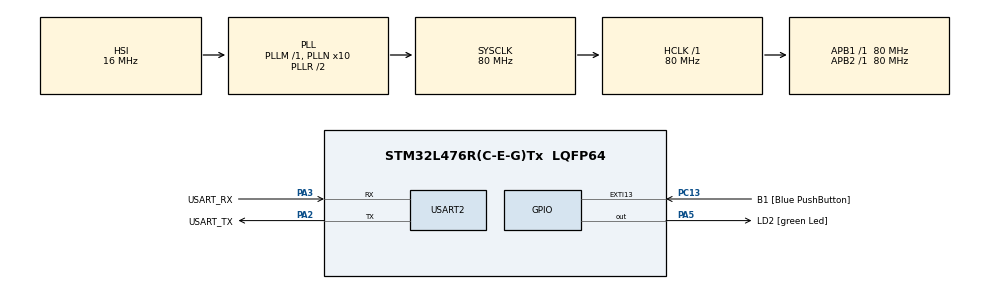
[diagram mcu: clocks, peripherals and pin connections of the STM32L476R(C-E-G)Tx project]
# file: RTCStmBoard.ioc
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Mcu.Family=STM32L4
Mcu.Name=STM32L476R(C-E-G)Tx
Mcu.Package=LQFP64
NVIC.PriorityGroup=NVIC_PRIORITYGROUP_4
NVIC.RTC_Alarm_IRQn=true\:0\:0\:false\:false\:true\:true\:true\:true
PA13\ (JTMS-SWDIO).GPIO_Label=TMS
PA13\ (JTMS-SWDIO).Signal=SYS_JTMS-SWDIO
PA14\ (JTCK-SWCLK).GPIO_Label=TCK
PA14\ (JTCK-SWCLK).Signal=SYS_JTCK-SWCLK
PA2.GPIO_Label=USART_TX
PA2.GPIO_Mode=GPIO_MODE_AF_PP
PA2.GPIO_PuPd=GPIO_NOPULL
PA2.GPIO_Speed=GPIO_SPEED_FREQ_VERY_HIGH
PA2.Mode=Asynchronous
PA2.Signal=USART2_TX
PA3.GPIO_Label=USART_RX
PA3.GPIO_Mode=GPIO_MODE_AF_PP
PA3.GPIO_PuPd=GPIO_NOPULL
PA3.GPIO_Speed=GPIO_SPEED_FREQ_VERY_HIGH
PA3.Mode=Asynchronous
PA3.Signal=USART2_RX
PA5.GPIO_Label=LD2 [green Led]
PA5.GPIO_ModeDefaultOutputPP=GPIO_MODE_OUTPUT_PP
PA5.GPIO_PuPd=GPIO_NOPULL
PA5.GPIO_Speed=GPIO_SPEED_FREQ_LOW
PA5.Signal=GPIO_Output
PB3\ (JTDO-TRACESWO).GPIO_Label=SWO
PB3\ (JTDO-TRACESWO).Signal=SYS_JTDO-SWO
PC13.GPIO_Label=B1 [Blue PushButton]
PC13.GPIO_ModeDefaultEXTI=GPIO_MODE_IT_FALLING
PC13.GPIO_PuPd=GPIO_NOPULL
PC13.Signal=GPXTI13
PC14-OSC32_IN\ (PC14).Signal=RCC_OSC32_IN
PC15-OSC32_OUT\ (PC15).Signal=RCC_OSC32_OUT
PH0-OSC_IN\ (PH0).Signal=RCC_OSC_IN
PH1-OSC_OUT\ (PH1).Signal=RCC_OSC_OUT
ProjectManager.HeapSize=0x200
ProjectManager.StackSize=0x400
ProjectManager.TargetToolchain=STM32CubeIDE
RCC.ADCFreq_Value=64000000
RCC.AHBFreq_Value=80000000
RCC.APB1Freq_Value=80000000
RCC.APB1TimFreq_Value=80000000
RCC.APB2Freq_Value=80000000
RCC.APB2TimFreq_Value=80000000
RCC.CortexFreq_Value=80000000
RCC.HCLKFreq_Value=80000000
RCC.HSE_VALUE=8000000
RCC.HSI_VALUE=16000000
RCC.LSE_VALUE=32768
RCC.MSI_VALUE=4000000
RCC.PLLN=10
RCC.PLLSourceVirtual=RCC_PLLSOURCE_HSI
RCC.PREFETCH_ENABLE=1
RCC.SYSCLKFreq_VALUE=80000000
RCC.SYSCLKSource=RCC_SYSCLKSOURCE_PLLCLK
RCC.USBFreq_Value=64000000
RCC.VCOOutputFreq_Value=160000000
RTC.Alarm-Alarm\ A=RTC_ALARM_A
RTC.Seconds_A-Alarm\ A=1
USART2.VirtualMode-Asynchronous=VM_ASYNC
VP_RTC_VS_RTC_Activate.Mode=RTC_Enabled
VP_RTC_VS_RTC_Alarm_A_Intern.Mode=Alarm A
VP_RTC_VS_RTC_Calendar.Mode=RTC_Calendar
board=NUCLEO-L476RG

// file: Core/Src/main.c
/* USER CODE BEGIN Header */
/**
  ******************************************************************************
  * @file           : main.c
  * @brief          : Main program body
  ******************************************************************************
  * @attention
  *
  * Copyright (c) 2026 STMicroelectronics.
  * All rights reserved.
  *
  * This software is licensed under terms that can be found in the LICENSE file
  * in the root directory of this software component.
  * If no LICENSE file comes with this software, it is provided AS-IS.
  *
  ******************************************************************************
  */
/* USER CODE END Header */
#include "main.h"

/* USER CODE BEGIN Includes */
#include <string.h>
#include <stdio.h>
/* USER CODE END Includes */

RTC_HandleTypeDef hrtc;

UART_HandleTypeDef huart2;

void SystemClock_Config(void);
static void MX_GPIO_Init(void);
static void MX_RTC_Init(void);
static void MX_USART2_UART_Init(void);

int main(void)
{

  /* USER CODE BEGIN 1 */
	RTC_TimeTypeDef rtcTime; // RTC time structure
	RTC_DateTypeDef rtcDate; // RTC Date structure
	uint8_t buf[20]; 			// to hold the character string for UART communication or the bytes from real time clock
  /* USER CODE END 1 */

  /* MCU Configuration--------------------------------------------------------*/

  /* Reset of all peripherals, Initializes the Flash interface and the Systick. */
  HAL_Init();

  /* Configure the system clock */
  SystemClock_Config();

  /* Initialize all configured peripherals */
  MX_GPIO_Init();
  MX_RTC_Init();
  MX_USART2_UART_Init();

  /* Infinite loop */
  /* USER CODE BEGIN WHILE */
  while (1)
  {
	  HAL_RTC_GetTime(&hrtc, &rtcTime, RTC_FORMAT_BIN);  // Function to read the time from the RTC shadow register
	  HAL_RTC_GetDate(&hrtc, &rtcDate, RTC_FORMAT_BIN); // Function to read the date form the RTC shadow register

	  sprintf((char*)buf,"Time: %2u:%2u:%2u\r", (unsigned int)rtcTime.Hours, (unsigned int)rtcTime.Minutes, (unsigned int)rtcTime.Seconds);
	  HAL_UART_Transmit(&huart2, buf, strlen((char*)buf), HAL_MAX_DELAY);

	  HAL_Delay(1000);	// HAL Delay of 1000 millisecond
    /* USER CODE END WHILE */

  }
}

void SystemClock_Config(void)
{
  RCC_OscInitTypeDef RCC_OscInitStruct = {0};
  RCC_ClkInitTypeDef RCC_ClkInitStruct = {0};

  /** Configure the main internal regulator output voltage
  */
  if (HAL_PWREx_ControlVoltageScaling(PWR_REGULATOR_VOLTAGE_SCALE1) != HAL_OK)
  {
    Error_Handler();
  }

  /** Initializes the RCC Oscillators according to the specified parameters
  * in the RCC_OscInitTypeDef structure.
  */
  RCC_OscInitStruct.OscillatorType = RCC_OSCILLATORTYPE_HSI|RCC_OSCILLATORTYPE_LSI;
  RCC_OscInitStruct.HSIState = RCC_HSI_ON;
  RCC_OscInitStruct.HSICalibrationValue = RCC_HSICALIBRATION_DEFAULT;
  RCC_OscInitStruct.LSIState = RCC_LSI_ON;
  RCC_OscInitStruct.PLL.PLLState = RCC_PLL_ON;
  RCC_OscInitStruct.PLL.PLLSource = RCC_PLLSOURCE_HSI;
  RCC_OscInitStruct.PLL.PLLM = 1;
  RCC_OscInitStruct.PLL.PLLN = 10;
  RCC_OscInitStruct.PLL.PLLP = RCC_PLLP_DIV7;
  RCC_OscInitStruct.PLL.PLLQ = RCC_PLLQ_DIV2;
  RCC_OscInitStruct.PLL.PLLR = RCC_PLLR_DIV2;
  if (HAL_RCC_OscConfig(&RCC_OscInitStruct) != HAL_OK)
  {
    Error_Handler();
  }

  /** Initializes the CPU, AHB and APB buses clocks
  */
  RCC_ClkInitStruct.ClockType = RCC_CLOCKTYPE_HCLK|RCC_CLOCKTYPE_SYSCLK
                              |RCC_CLOCKTYPE_PCLK1|RCC_CLOCKTYPE_PCLK2;
  RCC_ClkInitStruct.SYSCLKSource = RCC_SYSCLKSOURCE_PLLCLK;
  RCC_ClkInitStruct.AHBCLKDivider = RCC_SYSCLK_DIV1;
  RCC_ClkInitStruct.APB1CLKDivider = RCC_HCLK_DIV1;
  RCC_ClkInitStruct.APB2CLKDivider = RCC_HCLK_DIV1;

  if (HAL_RCC_ClockConfig(&RCC_ClkInitStruct, FLASH_LATENCY_4) != HAL_OK)
  {
    Error_Handler();
  }
}

static void MX_RTC_Init(void)
{

  RTC_TimeTypeDef sTime = {0};
  RTC_DateTypeDef sDate = {0};
  RTC_AlarmTypeDef sAlarm = {0};

  /** Initialize RTC Only
  */
  hrtc.Instance = RTC;
  hrtc.Init.HourFormat = RTC_HOURFORMAT_24;
  hrtc.Init.AsynchPrediv = 127;
  hrtc.Init.SynchPrediv = 255;
  hrtc.Init.OutPut = RTC_OUTPUT_DISABLE;
  hrtc.Init.OutPutRemap = RTC_OUTPUT_REMAP_NONE;
  hrtc.Init.OutPutPolarity = RTC_OUTPUT_POLARITY_HIGH;
  hrtc.Init.OutPutType = RTC_OUTPUT_TYPE_OPENDRAIN;
  if (HAL_RTC_Init(&hrtc) != HAL_OK)
  {
    Error_Handler();
  }

  /** Initialize RTC and set the Time and Date
  */
  sTime.Hours = 0x0;
  sTime.Minutes = 0x0;
  sTime.Seconds = 0x0;
  sTime.DayLightSaving = RTC_DAYLIGHTSAVING_NONE;
  sTime.StoreOperation = RTC_STOREOPERATION_RESET;
  if (HAL_RTC_SetTime(&hrtc, &sTime, RTC_FORMAT_BCD) != HAL_OK)
  {
    Error_Handler();
  }
  sDate.WeekDay = RTC_WEEKDAY_MONDAY;
  sDate.Month = RTC_MONTH_JANUARY;
  sDate.Date = 0x1;
  sDate.Year = 0x0;

  if (HAL_RTC_SetDate(&hrtc, &sDate, RTC_FORMAT_BCD) != HAL_OK)
  {
    Error_Handler();
  }

  /** Enable the Alarm A
  */
  sAlarm.AlarmTime.Hours = 0x0;
  sAlarm.AlarmTime.Minutes = 0x0;
  sAlarm.AlarmTime.Seconds = 0x1;
  sAlarm.AlarmTime.SubSeconds = 0x0;
  sAlarm.AlarmTime.DayLightSaving = RTC_DAYLIGHTSAVING_NONE;
  sAlarm.AlarmTime.StoreOperation = RTC_STOREOPERATION_RESET;
  sAlarm.AlarmMask = RTC_ALARMMASK_NONE;
  sAlarm.AlarmSubSecondMask = RTC_ALARMSUBSECONDMASK_ALL;
  sAlarm.AlarmDateWeekDaySel = RTC_ALARMDATEWEEKDAYSEL_DATE;
  sAlarm.AlarmDateWeekDay = 0x1;
  sAlarm.Alarm = RTC_ALARM_A;
  if (HAL_RTC_SetAlarm_IT(&hrtc, &sAlarm, RTC_FORMAT_BCD) != HAL_OK)
  {
    Error_Handler();
  }

}

static void MX_USART2_UART_Init(void)
{

  huart2.Instance = USART2;
  huart2.Init.BaudRate = 115200;
  huart2.Init.WordLength = UART_WORDLENGTH_8B;
  huart2.Init.StopBits = UART_STOPBITS_1;
  huart2.Init.Parity = UART_PARITY_NONE;
  huart2.Init.Mode = UART_MODE_TX_RX;
  huart2.Init.HwFlowCtl = UART_HWCONTROL_NONE;
  huart2.Init.OverSampling = UART_OVERSAMPLING_16;
  huart2.Init.OneBitSampling = UART_ONE_BIT_SAMPLE_DISABLE;
  huart2.AdvancedInit.AdvFeatureInit = UART_ADVFEATURE_NO_INIT;
  if (HAL_UART_Init(&huart2) != HAL_OK)
  {
    Error_Handler();
  }

}

static void MX_GPIO_Init(void)
{
  GPIO_InitTypeDef GPIO_InitStruct = {0};

  /* GPIO Ports Clock Enable */
  __HAL_RCC_GPIOC_CLK_ENABLE();
  __HAL_RCC_GPIOH_CLK_ENABLE();
  __HAL_RCC_GPIOA_CLK_ENABLE();
  __HAL_RCC_GPIOB_CLK_ENABLE();

  /*Configure GPIO pin Output Level */
  HAL_GPIO_WritePin(LD2_GPIO_Port, LD2_Pin, GPIO_PIN_RESET);

  /*Configure GPIO pin : B1_Pin */
  GPIO_InitStruct.Pin = B1_Pin;
  GPIO_InitStruct.Mode = GPIO_MODE_IT_FALLING;
  GPIO_InitStruct.Pull = GPIO_NOPULL;
  HAL_GPIO_Init(B1_GPIO_Port, &GPIO_InitStruct);

  /*Configure GPIO pin : LD2_Pin */
  GPIO_InitStruct.Pin = LD2_Pin;
  GPIO_InitStruct.Mode = GPIO_MODE_OUTPUT_PP;
  GPIO_InitStruct.Pull = GPIO_NOPULL;
  GPIO_InitStruct.Speed = GPIO_SPEED_FREQ_LOW;
  HAL_GPIO_Init(LD2_GPIO_Port, &GPIO_InitStruct);

}

/* USER CODE BEGIN 4 */
void HAL_RTC_AlarmAEventCallback(RTC_HandleTypeDef *hrtc) {
  RTC_AlarmTypeDef sAlarm;
  HAL_RTC_GetAlarm(hrtc,&sAlarm,RTC_ALARM_A,FORMAT_BIN);
  if(sAlarm.AlarmTime.Seconds>58) {
    sAlarm.AlarmTime.Seconds=0;
  }else{
    sAlarm.AlarmTime.Seconds=sAlarm.AlarmTime.Seconds+1;
  }
    while(HAL_RTC_SetAlarm_IT(hrtc, &sAlarm, FORMAT_BIN)!=HAL_OK){}
    HAL_GPIO_TogglePin(GPIOA, GPIO_PIN_5);
}
/* USER CODE END 4 */

void Error_Handler(void)
{
  __disable_irq();
  while (1)
  {
  }
}
